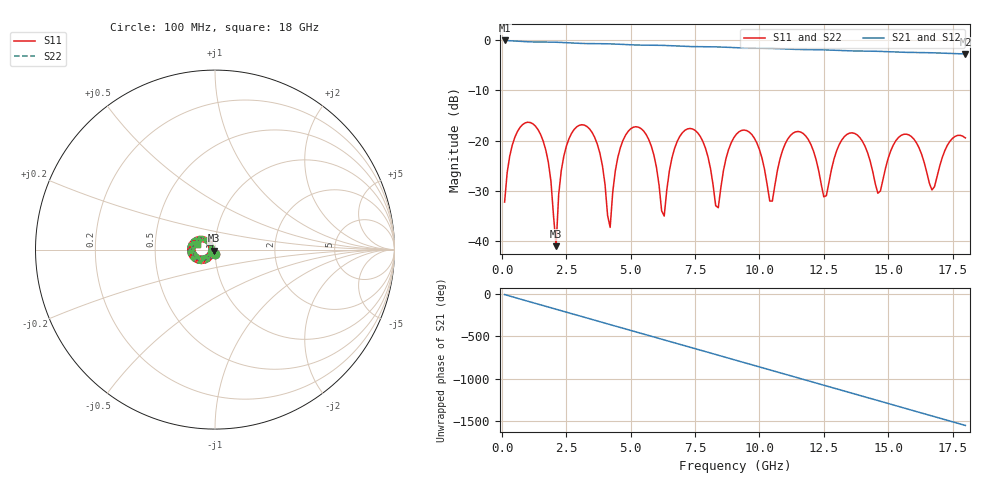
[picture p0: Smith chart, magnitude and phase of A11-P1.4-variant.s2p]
! yapnr rf coupon A: A11 P1.4 (variant, family P1.4)
! stackup JLC04161H-7628, nominal parameters; reference planes 10 mm from each end; 50 ohm (renormalized from the line's Zc)
! model: 2D quasi-static RLGC (Djordjevic-Sarkar, Huray roughness, Wheeler loss); generated by python -m yapnr.rf.coupons expected
# GHz S DB R 50
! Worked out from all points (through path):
!   180 points, 100 MHz to 18 GHz, reference 50 ohm
!   highest |S21| = -0.04 dB at 100 MHz (marker M1); lowest = -2.7 dB at 18 GHz (marker M2)
!   group delay of S21, straight-line fit = 239 ps
!   lowest |S11| = -41.1 dB at 2.1 GHz (marker M3), VSWR 1.02, Z = 49.3 - j0.537 ohm
!   |S11| at or under -10 dB: start of sweep to end of sweep
!   |S22| runs from -41.1 to -16.4 dB; largest |S21 - S12| = 0
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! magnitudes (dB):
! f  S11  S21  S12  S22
! 100 MHz  -32.3  0.0  0.0  -32.3
! 1.2 GHz  -16.7  -0.3  -0.3  -16.7
! 1.8 GHz  -24.4  -0.4  -0.4  -24.4
! 2.1 GHz  -41.1  -0.4  -0.4  -41.1
! 2.4 GHz  -23.1  -0.5  -0.5  -23.1
! 3.1 GHz  -16.9  -0.6  -0.6  -16.9
! 4.2 GHz  -37.3  -0.7  -0.7  -37.3
! 5 GHz  -17.6  -0.9  -0.9  -17.6
! 6.1 GHz  -28.9  -1.0  -1.0  -28.9
! 6.3 GHz  -35.1  -1.0  -1.0  -35.1
! 7.4 GHz  -17.7  -1.3  -1.3  -17.7
! 8.4 GHz  -33.4  -1.3  -1.3  -33.4
! 9.1 GHz  -18.8  -1.5  -1.5  -18.8
! 10.4 GHz  -32.1  -1.6  -1.6  -32.1
! 11.2 GHz  -19.0  -1.8  -1.8  -19.0
! 12.1 GHz  -22.1  -1.9  -1.9  -22.1
! 12.5 GHz  -31.2  -1.9  -1.9  -31.2
! 13.4 GHz  -18.8  -2.1  -2.1  -18.8
! 14.6 GHz  -30.5  -2.2  -2.2  -30.5
! 15.1 GHz  -22.1  -2.3  -2.3  -22.1
! 16.7 GHz  -29.9  -2.5  -2.5  -29.9
! 18 GHz  -19.5  -2.7  -2.7  -19.5
